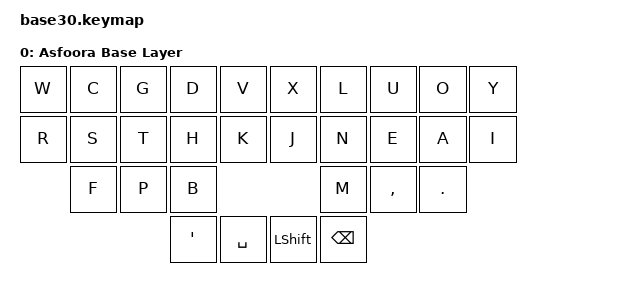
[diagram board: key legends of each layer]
/*
 * Copyright (c) 2020 The ZMK Contributors
 *
 * SPDX-License-Identifier: MIT
 */

#include <behaviors.dtsi>
#include <dt-bindings/zmk/keys.h>
#include <dt-bindings/zmk/bt.h>
#include <dt-bindings/zmk/outputs.h>

#define base 0

/ {
	keymap {
		compatible = "zmk,keymap";
		//	 0  1  2  3  4		 5  6  7  8  9
		//	10 11 12 13 14		15 16 17 18 19 
		//	   20 21 22			   23 24 25
		//
		//			 26 27		28 29
		
		//	 w  c  g  d  v		 x  l  u  o  y
		//	 r  s  t  h  k		 j  n  e  a  i
		//		f  p  b				m  ,  .
	
        base_layer {
            label = "Asfoora Base Layer";
			
            bindings = <
				&kp W		&kp C		&kp G		&kp D		&kp V				&kp X		&kp L		&kp U		&kp O		&kp Y
				&kp R		&kp S		&kp T		&kp H		&kp K				&kp J		&kp N		&kp E		&kp A		&kp I
							&kp F		&kp P		&kp B                                       &kp M		&kp COMMA	&kp DOT

													&kp SQT		&kp SPACE			&kp LSHFT	&kp BSPC
			>;
		};
	};
};
